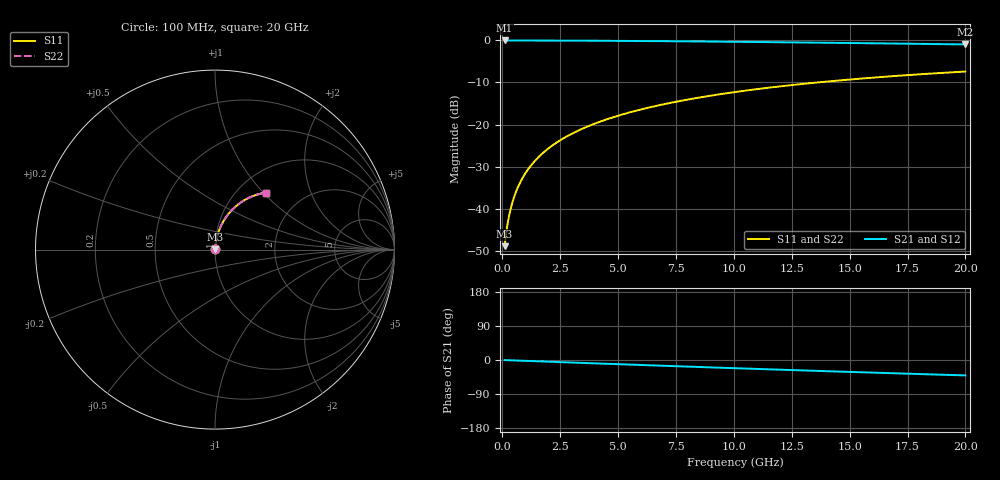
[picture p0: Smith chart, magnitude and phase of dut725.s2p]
! Touchstone file exported from HFSS 2026.1.0
!  File:  C:/ffzhzh/LocalFiles/Ansys_Project_Files/temp_train_BSMRDL_725_1783168418_18472.aedt
!  Generated:  08:34:59 PM Jul  4, 2026
!  Design:  BSMRDL
!  Project:  temp_train_BSMRDL_725_1783168418_18472
! Variables:
!  h_bsmrdl = 4.8um
!  h_ox = 20um
!  h_rdl = 5um
!  h_sub = 80um
!  h_tmrdl = 5um
!  h_tsv = 80um
!  h_via = 3um
!  l_bsmrdl = 550.06um
!  l_sub = 950.06um
!  l_tmrdl = 200um
!  m_sub = 200um
!  pitch = 55.95um
!  r_tsv = 6um
!  s_tmrdl = 10um
!  w_bsmrdl = 18.66um
!  w_sub = 500um
!  w_tmrdl = 12um
!  x_tsv_center1 = 206um
!  x_tsv_center2 = 774.72um
!  x_tsv_center3 = 986.72um
!  x_tsv_center4 = 1555.44um
!  x_tsv_center5 = 1767.44um
!  x_tsv_center6 = 2336.16um
# GHz S MA R 50.000000
! Terminal data exported
! Port[1] = BSM_RDL1_1_T1
! Port[2] = BSM_RDL1_1_T2
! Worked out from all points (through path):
!   200 points, 100 MHz to 20 GHz, reference 50 ohm
!   highest |S21| = -0.02 dB at 100 MHz (marker M1); lowest = -1.0 dB at 20 GHz (marker M2)
!   group delay of S21, straight-line fit = 5.65 ps
!   lowest |S11| = -48.9 dB at 100 MHz (marker M3), VSWR 1.01, Z = 50.2 + j0.276 ohm
!   |S11| at or under -10 dB: start of sweep to 13.61 GHz
!   |S22| runs from -48.9 to -7.4 dB; largest |S21 - S12| = 3.5e-15
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0.1  0.00359 49.9  0.9977 -0.2  0.9977 -0.2  0.00359 49.9
! Gamma 0 0 0 0
! Port Impedance 50 0 50 0
0.2  0.005947 65.7  0.9976 -0.5  0.9976 -0.5  0.005947 65.7
0.3  0.008448 72.1  0.9975 -0.7  0.9975 -0.7  0.008448 72.1
0.4  0.01098 75.6  0.9974 -0.9  0.9974 -0.9  0.01098 75.6
0.5  0.01353 77.7  0.9973 -1.1  0.9973 -1.1  0.01353 77.7
0.7  0.01867 80.1  0.9971 -1.6  0.9971 -1.6  0.01867 80.1
0.8  0.02125 80.8  0.997 -1.8  0.997 -1.8  0.02125 80.8
1  0.02642 81.6  0.9968 -2.3  0.9968 -2.3  0.02642 81.6
1.2  0.03159 82.0  0.9966 -2.7  0.9966 -2.7  0.03159 82.0
1.4  0.03676 82.2  0.9963 -3.2  0.9963 -3.2  0.03676 82.2
1.7  0.04451 82.2  0.9959 -3.8  0.9959 -3.8  0.04451 82.2
2  0.05223 81.9  0.9954 -4.5  0.9954 -4.5  0.05223 81.9
2.7  0.07011 80.9  0.9938 -6.0  0.9938 -6.0  0.07011 80.9
3.5  0.09028 79.5  0.9917 -7.8  0.9917 -7.8  0.09028 79.5
4.2  0.1077 78.2  0.9895 -9.3  0.9895 -9.3  0.1077 78.1
5  0.1273 76.6  0.9866 -11.1  0.9866 -11.1  0.1273 76.6
6.8  0.1702 73.0  0.9791 -14.9  0.9791 -14.9  0.1702 73.0
8.3  0.2047 70.0  0.9719 -18.1  0.9719 -18.1  0.2047 70.0
10.1  0.2444 66.4  0.962 -21.8  0.962 -21.8  0.2444 66.4
13.4  0.3122 60.1  0.9414 -28.4  0.9414 -28.4  0.3122 60.0
16.7  0.373 53.9  0.9187 -34.7  0.9187 -34.7  0.373 53.9
20  0.4264 48.1  0.895 -40.7  0.895 -40.7  0.4264 48.1
